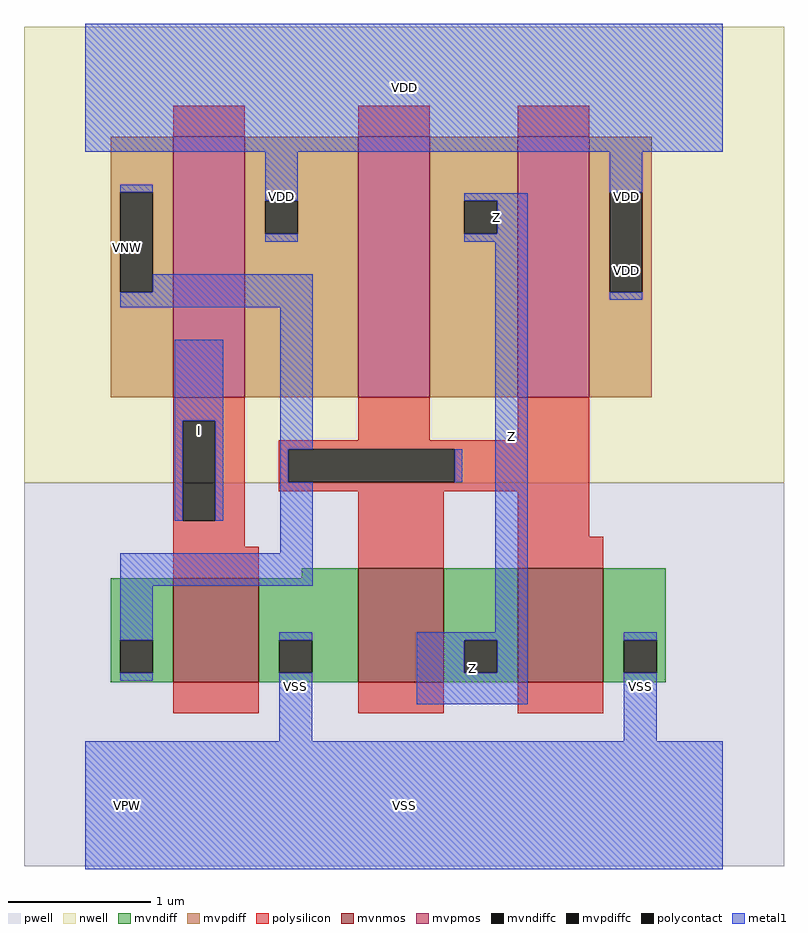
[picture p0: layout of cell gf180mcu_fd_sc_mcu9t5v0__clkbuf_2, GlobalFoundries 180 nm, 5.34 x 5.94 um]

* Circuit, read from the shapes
.subckt gf180mcu_fd_sc_mcu9t5v0__clkbuf_2 I Z VDD VNW VPW VSS
XM1 VSS I n1 VPW nfet_06v0 w=0.73u l=0.6u
XM2 Z n1 VSS VPW nfet_06v0 w=0.8u l=0.6u m=2
XM3 VDD I n1 VNW pfet_06v0 w=1.83u l=0.5u
XM4 Z n1 VDD VNW pfet_06v0 w=1.83u l=0.5u m=2
.ends

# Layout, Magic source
magic
tech gf180mcuD
magscale 1 10
<< nwell >>
rect -86 453 982 1094
<< pwell >>
rect -86 -86 982 453
<< mvnmos >>
rect 124 173 244 319
rect 384 173 504 333
rect 608 173 728 333
<< mvpmos >>
rect 124 573 224 939
rect 384 573 484 939
rect 608 573 708 939
<< mvndiff >>
rect 304 319 384 333
rect 36 232 124 319
rect 36 186 49 232
rect 95 186 124 232
rect 36 173 124 186
rect 244 232 384 319
rect 244 186 273 232
rect 319 186 384 232
rect 244 173 384 186
rect 504 232 608 333
rect 504 186 533 232
rect 579 186 608 232
rect 504 173 608 186
rect 728 232 816 333
rect 728 186 757 232
rect 803 186 816 232
rect 728 173 816 186
<< mvpdiff >>
rect 36 861 124 939
rect 36 721 49 861
rect 95 721 124 861
rect 36 573 124 721
rect 224 849 384 939
rect 224 803 253 849
rect 299 803 384 849
rect 224 573 384 803
rect 484 849 608 939
rect 484 803 533 849
rect 579 803 608 849
rect 484 573 608 803
rect 708 861 796 939
rect 708 721 737 861
rect 783 721 796 861
rect 708 573 796 721
<< mvndiffc >>
rect 49 186 95 232
rect 273 186 319 232
rect 533 186 579 232
rect 757 186 803 232
<< mvpdiffc >>
rect 49 721 95 861
rect 253 803 299 849
rect 533 803 579 849
rect 737 721 783 861
<< polysilicon >>
rect 124 939 224 983
rect 384 939 484 983
rect 608 939 708 983
rect 124 540 224 573
rect 124 400 137 540
rect 183 400 224 540
rect 384 513 484 573
rect 608 513 708 573
rect 272 500 708 513
rect 272 454 285 500
rect 519 454 708 500
rect 272 441 708 454
rect 124 363 224 400
rect 124 319 244 363
rect 384 333 504 441
rect 608 377 708 441
rect 608 333 728 377
rect 124 129 244 173
rect 384 129 504 173
rect 608 129 728 173
<< polycontact >>
rect 137 400 183 540
rect 285 454 519 500
<< metal1 >>
rect 0 918 896 1098
rect 49 861 95 872
rect 253 849 299 918
rect 737 861 783 918
rect 253 792 299 803
rect 533 849 622 860
rect 579 803 622 849
rect 533 792 622 803
rect 95 721 320 746
rect 49 700 320 721
rect 126 540 194 654
rect 126 400 137 540
rect 183 400 194 540
rect 274 500 320 700
rect 274 454 285 500
rect 519 454 530 500
rect 274 354 320 454
rect 49 308 320 354
rect 49 232 95 308
rect 576 243 622 792
rect 737 710 783 721
rect 49 175 95 186
rect 273 232 319 243
rect 273 90 319 186
rect 466 232 622 243
rect 466 186 533 232
rect 579 186 622 232
rect 466 142 622 186
rect 757 232 803 243
rect 757 90 803 186
rect 0 -90 896 90
<< labels >>
flabel metal1 s 126 400 194 654 0 FreeSans 200 0 0 0 I
port 1 nsew default input
flabel metal1 s 0 918 896 1098 0 FreeSans 200 0 0 0 VDD
port 3 nsew power bidirectional abutment
flabel metal1 s 757 90 803 243 0 FreeSans 200 0 0 0 VSS
port 6 nsew ground bidirectional abutment
flabel metal1 s 533 792 622 860 0 FreeSans 200 0 0 0 Z
port 2 nsew default output
flabel nwell s 10 734 110 834 0 FreeSans 400 0 0 0 VNW
port 4 nsew power bidirectional
flabel pwell s 10 -50 110 50 0 FreeSans 400 0 0 0 VPW
port 5 nsew ground bidirectional
rlabel metal1 s 576 243 622 792 1 Z
port 2 nsew default output
rlabel metal1 s 466 142 622 243 1 Z
port 2 nsew default output
rlabel metal1 s 737 792 783 918 1 VDD
port 3 nsew power bidirectional abutment
rlabel metal1 s 253 792 299 918 1 VDD
port 3 nsew power bidirectional abutment
rlabel metal1 s 737 710 783 792 1 VDD
port 3 nsew power bidirectional abutment
rlabel metal1 s 273 90 319 243 1 VSS
port 6 nsew ground bidirectional abutment
rlabel metal1 s 0 -90 896 90 1 VSS
port 6 nsew ground bidirectional abutment
<< properties >>
string FIXED_BBOX 0 0 896 1008
string GDS_END 1386518
string GDS_FILE $PDKPATH/libs.ref/gf180mcu_fd_sc_mcu9t5v0/gds/gf180mcu_fd_sc_mcu9t5v0.gds
string GDS_START 1383424
string LEFclass core
string LEFsite GF018hv5v_green_sc9
string LEFsymmetry X Y
<< end >>
